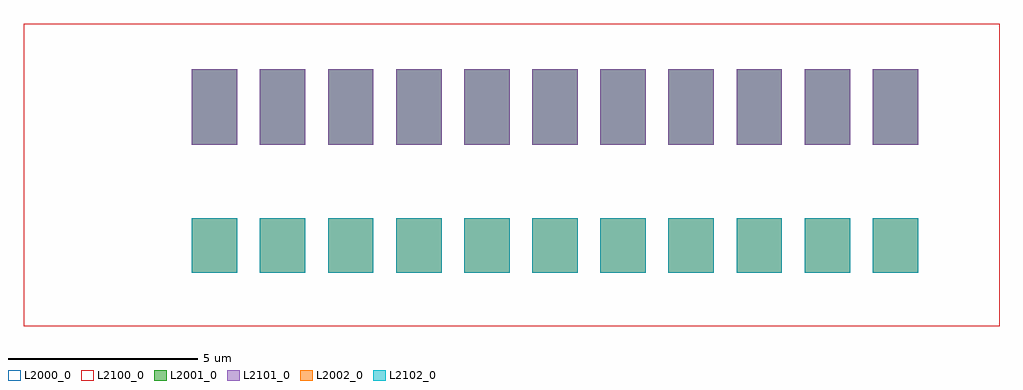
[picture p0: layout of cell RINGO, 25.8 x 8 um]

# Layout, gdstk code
import gdstk
lib = gdstk.Library(unit=1e-6, precision=1e-09)
def R(c, l, rs):  # rectangles x0, y0, x1, y1
    for r in rs: c.add(gdstk.rectangle(r[:2], r[2:], *l))
def A(c, l, x, y, w, h, nx, ny, dx, dy):  # array of equal rectangles
    R(c, l, [(x+i*dx, y+j*dy, x+i*dx+w, y+j*dy+h) for i in range(nx) for j in range(ny)])
L2000_0 = (2000, 0)
L2001_0 = (2001, 0)
L2002_0 = (2002, 0)
L2100_0 = (2100, 0)
L2101_0 = (2101, 0)
L2102_0 = (2102, 0)

pmos3 = lib.new_cell('PMOS3')
R(pmos3, L2101_0, [(-0.05,-0.25,1.15,1.75)])

nmos2 = lib.new_cell('NMOS2')
R(nmos2, L2102_0, [(-0.05,-0.25,1.15,1.2)])

invx1 = lib.new_cell('INVX1')
invx1.add(gdstk.Reference(pmos3, (0.3,5.05)))
invx1.add(gdstk.Reference(nmos2, (0.3,1.66)))

ringo = lib.new_cell('RINGO')
R(ringo, L2000_0, [(0,0,25.8,8)])
A(ringo, L2001_0, 4.45, 4.8, 1.2, 2, 11, 1, 1.8, 0)
A(ringo, L2002_0, 4.45, 1.41, 1.2, 1.45, 11, 1, 1.8, 0)
R(ringo, L2100_0, [(0,0,25.8,8)])
r = gdstk.Reference(invx1, (4.2,0)); r.repetition = gdstk.Repetition(10, 1, v1=(1.8,0), v2=(0,0)); ringo.add(r)
ringo.add(gdstk.Reference(invx1, (22.2,0)))

lib.write_gds('RINGO.gds')
